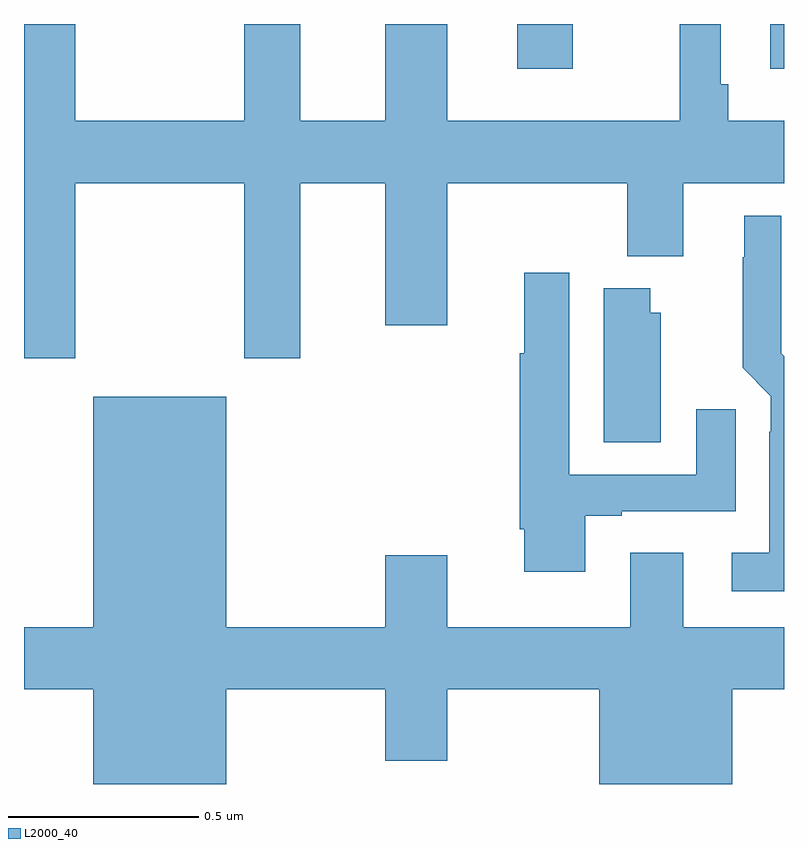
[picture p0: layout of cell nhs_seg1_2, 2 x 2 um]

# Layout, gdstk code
import gdstk
lib = gdstk.Library(unit=1e-6, precision=1e-09)
def R(c, l, rs):  # rectangles x0, y0, x1, y1
    for r in rs: c.add(gdstk.rectangle(r[:2], r[2:], *l))
def P(c, l, *ps):  # polygons
    for p in ps: c.add(gdstk.Polygon(p, *l))
L2000_40 = (2000, 40)

nhs_seg1_2 = lib.new_cell('nhs_seg1_2')
R(nhs_seg1_2, L2000_40, [(112.298,504.081,112.444,504.199), (112.964,504.081,113,504.199)])
P(nhs_seg1_2, L2000_40, [(111.135,503.78),(111.58,503.78),(111.58,503.319),(111.727,503.319),(111.727,503.78),(111.95,503.78),(111.95,503.406),(112.114,503.406),(112.114,503.78),(112.588,503.78),(112.588,503.588),(112.735,503.588),(112.735,503.78),(113,503.78),(113,503.944),(112.853,503.944),(112.853,504.04),(112.833,504.04),(112.833,504.199),(112.725,504.199),(112.725,503.944),(112.114,503.944),(112.114,504.199),(111.95,504.199),(111.95,503.944),(111.727,503.944),(111.727,504.199),(111.58,504.199),(111.58,503.944),(111.135,503.944),(111.135,504.199),(111,504.199),(111,503.319),(111.135,503.319)],
  [(113,503.325),(112.993,503.332),(112.993,503.695),(112.895,503.695),(112.895,503.585),(112.891,503.585),(112.891,503.294),(112.965,503.22),(112.965,503.126),(112.961,503.126),(112.961,502.807),(112.863,502.807),(112.863,502.706),(113,502.706)],
  [(112.477,502.905),(112.573,502.905),(112.573,502.917),(112.873,502.917),(112.873,503.185),(112.769,503.185),(112.769,503.013),(112.435,503.013),(112.435,503.545),(112.316,503.545),(112.316,503.332),(112.304,503.332),(112.304,502.87),(112.316,502.87),(112.316,502.758),(112.477,502.758)],
  [(112.675,503.439),(112.648,503.439),(112.648,503.503),(112.526,503.503),(112.526,503.098),(112.675,503.098)],
  [(111.532,502.448),(111.95,502.448),(111.95,502.26),(112.114,502.26),(112.114,502.448),(112.514,502.448),(112.514,502.199),(112.864,502.199),(112.864,502.448),(113,502.448),(113,502.612),(112.735,502.612),(112.735,502.807),(112.595,502.807),(112.595,502.612),(112.114,502.612),(112.114,502.801),(111.95,502.801),(111.95,502.612),(111.532,502.612),(111.532,503.218),(111.182,503.218),(111.182,502.612),(111,502.612),(111,502.448),(111.182,502.448),(111.182,502.199),(111.532,502.199)])

lib.write_gds('nhs_seg1_2.gds')
